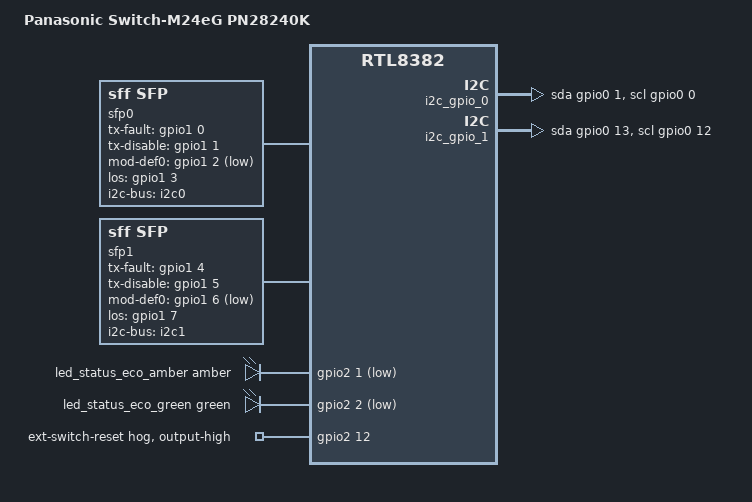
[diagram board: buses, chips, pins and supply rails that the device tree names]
// SPDX-License-Identifier: GPL-2.0-or-later OR MIT

#include "rtl838x.dtsi"
#include "rtl83xx_panasonic_mxxeg-pn28xx0k.dtsi"

#include <dt-bindings/interrupt-controller/irq.h>

/ {
	compatible = "panasonic,m24eg-pn28240k", "realtek,rtl8382-soc";
	model = "Panasonic Switch-M24eG PN28240K";

	aliases {
		led-boot = &led_status_eco_green;
		led-failsafe = &led_status_eco_amber;
		led-running = &led_status_eco_green;
		led-upgrade = &led_status_eco_green;
	};

	/*
	 * sfp0/1 are "combo" port with each TP port (23/24), and they are
	 * connected to the RTL8218FB. Currently, there is no support for
	 * the chip and only TP ports work by the RTL8218D support.
	 */
	sfp0: sfp-p23 {
		compatible = "sff,sfp";
		i2c-bus = <&i2c0>;
		tx-fault-gpio = <&gpio1 0 GPIO_ACTIVE_HIGH>;
		tx-disable-gpio = <&gpio1 1 GPIO_ACTIVE_HIGH>;
		mod-def0-gpio = <&gpio1 2 GPIO_ACTIVE_LOW>;
		los-gpio = <&gpio1 3 GPIO_ACTIVE_HIGH>;
	};

	sfp1: sfp-p24 {
		compatible = "sff,sfp";
		i2c-bus = <&i2c1>;
		tx-fault-gpio = <&gpio1 4 GPIO_ACTIVE_HIGH>;
		tx-disable-gpio = <&gpio1 5 GPIO_ACTIVE_HIGH>;
		mod-def0-gpio = <&gpio1 6 GPIO_ACTIVE_LOW>;
		los-gpio = <&gpio1 7 GPIO_ACTIVE_HIGH>;
	};
};

&leds {
	led_status_eco_amber: led-5 {
		gpios = <&gpio2 1 GPIO_ACTIVE_LOW>;
		color = <LED_COLOR_ID_AMBER>;
		function = LED_FUNCTION_STATUS;
		function-enumerator = <1>;
	};

	led_status_eco_green: led-6 {
		gpios = <&gpio2 2 GPIO_ACTIVE_LOW>;
		color = <LED_COLOR_ID_GREEN>;
		function = LED_FUNCTION_STATUS;
		function-enumerator = <2>;
	};
};

&i2c_gpio_0 {
	scl-gpios = <&gpio0 0 (GPIO_ACTIVE_HIGH | GPIO_OPEN_DRAIN)>;
	sda-gpios = <&gpio0 1 (GPIO_ACTIVE_HIGH | GPIO_OPEN_DRAIN)>;
};

&i2c_gpio_1 {
	scl-gpios = <&gpio0 12 (GPIO_ACTIVE_HIGH | GPIO_OPEN_DRAIN)>;
	sda-gpios = <&gpio0 13 (GPIO_ACTIVE_HIGH | GPIO_OPEN_DRAIN)>;
};

&gpio2 {
	interrupt-controller;
	#interrupt-cells = <2>;
	interrupt-parent = <&gpio0>;
	interrupts = <2 IRQ_TYPE_EDGE_FALLING>;

	/*
	 * GPIO12 (IO1_4): RTL8218B + RTL8218FB
	 *
	 * This GPIO pin should be specified as "reset-gpio" in mdio node,
	 * but the current configuration of RTL8218B phy in the phy driver
	 * seems to be incomplete and RTL8218FB phy won't be configured on
	 * RTL8218D support. So, ethernet ports on these phys will be broken
	 * after hard-resetting.
	 * (RTL8218FB phy will be detected as RTL8218D by the phy driver)
	 * At the moment, configure this GPIO pin as gpio-hog to avoid breaking
	 * by resetting.
	 */
	ext_switch_reset {
		gpio-hog;
		gpios = <12 GPIO_ACTIVE_HIGH>;
		output-high;
		line-name = "ext-switch-reset";
	};
};

&i2c_switch {
	i2c0: i2c@0 {
		#address-cells = <1>;
		#size-cells = <0>;
		reg = <0>;
	};

	i2c1: i2c@1 {
		#address-cells = <1>;
		#size-cells = <0>;
		reg = <1>;
	};
};

&mdio_bus0 {
	PHY_C22(0, 0)
	PHY_C22(1, 1)
	PHY_C22(2, 2)
	PHY_C22(3, 3)
	PHY_C22(4, 4)
	PHY_C22(5, 5)
	PHY_C22(6, 6)
	PHY_C22(7, 7)

	PHY_C22(8, 8)
	PHY_C22(9, 9)
	PHY_C22(10, 10)
	PHY_C22(11, 11)
	PHY_C22(12, 12)
	PHY_C22(13, 13)
	PHY_C22(14, 14)
	PHY_C22(15, 15)

	/* RTL8218FB */
	PHY_C22(16, 16)
	PHY_C22(17, 17)
	PHY_C22(18, 18)
	PHY_C22(19, 19)
	PHY_C22(20, 20)
	PHY_C22(21, 21)
	PHY_C22(22, 22)
	PHY_C22(23, 23)
};

&switch0 {
	ethernet-ports {
		#address-cells = <1>;
		#size-cells = <0>;

		SWITCH_PORT_SDS(0, 1, 0, 0, qsgmii)
		SWITCH_PORT_SDS(1, 2, 0, 1, qsgmii)
		SWITCH_PORT_SDS(2, 3, 0, 2, qsgmii)
		SWITCH_PORT_SDS(3, 4, 0, 3, qsgmii)
		SWITCH_PORT_SDS(4, 5, 1, 0, qsgmii)
		SWITCH_PORT_SDS(5, 6, 1, 1, qsgmii)
		SWITCH_PORT_SDS(6, 7, 1, 2, qsgmii)
		SWITCH_PORT_SDS(7, 8, 1, 3, qsgmii)

		SWITCH_PORT(8, 9, internal)
		SWITCH_PORT(9, 10, internal)
		SWITCH_PORT(10, 11, internal)
		SWITCH_PORT(11, 12, internal)
		SWITCH_PORT(12, 13, internal)
		SWITCH_PORT(13, 14, internal)
		SWITCH_PORT(14, 15, internal)
		SWITCH_PORT(15, 16, internal)

		SWITCH_PORT_SDS(16, 17, 2, 0, qsgmii)
		SWITCH_PORT_SDS(17, 18, 2, 1, qsgmii)
		SWITCH_PORT_SDS(18, 19, 2, 2, qsgmii)
		SWITCH_PORT_SDS(19, 20, 2, 3, qsgmii)
		SWITCH_PORT_SDS(20, 21, 3, 0, qsgmii)
		SWITCH_PORT_SDS(21, 22, 3, 1, qsgmii)
		SWITCH_PORT_SDS(22, 23, 3, 2, qsgmii)
		SWITCH_PORT_SDS(23, 24, 3, 3, qsgmii)

		port@28 {
			ethernet = <&ethernet0>;
			reg = <28>;
			phy-mode = "internal";

			fixed-link {
				speed = <1000>;
				full-duplex;
			};
		};
	};
};
